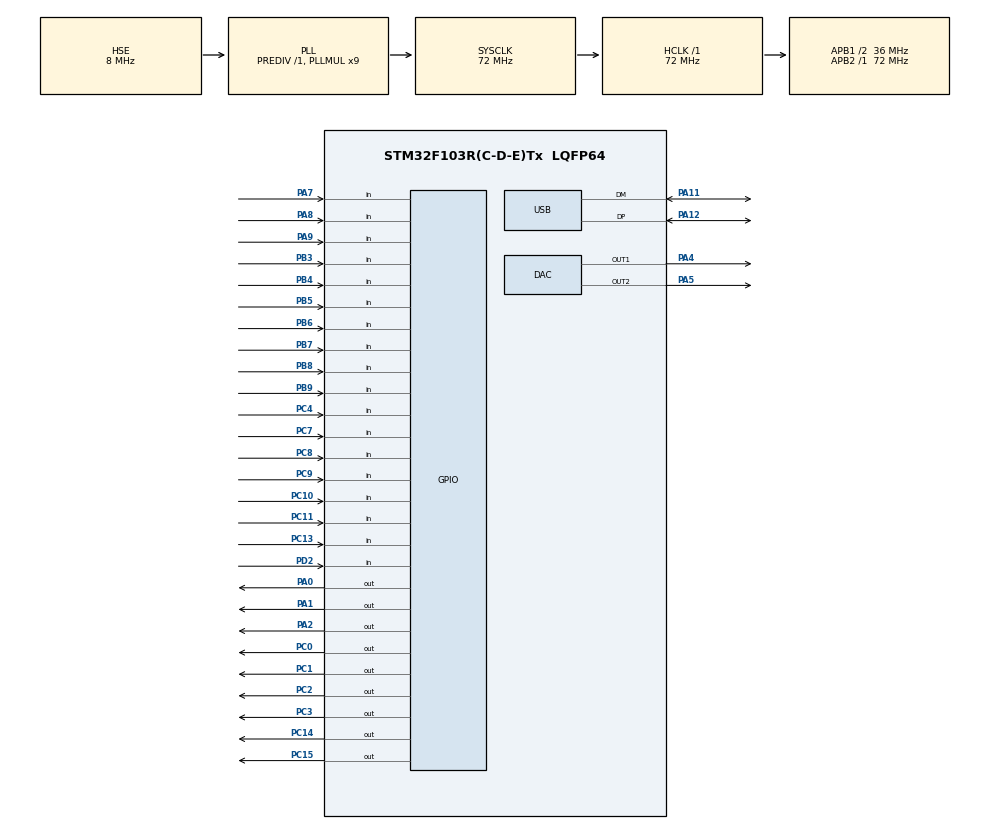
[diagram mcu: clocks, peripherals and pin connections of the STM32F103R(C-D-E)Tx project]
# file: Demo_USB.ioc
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Mcu.Family=STM32F1
Mcu.Name=STM32F103R(C-D-E)Tx
Mcu.Package=LQFP64
NVIC.PriorityGroup=NVIC_PRIORITYGROUP_4
NVIC.USB_LP_CAN1_RX0_IRQn=true\:0\:0\:false\:false\:true\:false\:true
PA0-WKUP.Signal=GPIO_Output
PA1.Signal=GPIO_Output
PA11.Mode=Device
PA11.Signal=USB_DM
PA12.Mode=Device
PA12.Signal=USB_DP
PA13.Mode=Serial_Wire
PA13.Signal=SYS_JTMS-SWDIO
PA14.Mode=Serial_Wire
PA14.Signal=SYS_JTCK-SWCLK
PA2.Signal=GPIO_Output
PA4.Signal=COMP_DAC1_group
PA5.Signal=COMP_DAC2_group
PA7.Signal=GPIO_Input
PA8.Signal=GPIO_Input
PA9.Signal=GPIO_Input
PB3.Signal=GPIO_Input
PB4.Signal=GPIO_Input
PB5.Signal=GPIO_Input
PB6.Signal=GPIO_Input
PB7.Signal=GPIO_Input
PB8.Signal=GPIO_Input
PB9.Signal=GPIO_Input
PC0.Signal=GPIO_Output
PC1.Signal=GPIO_Output
PC10.Signal=GPIO_Input
PC11.Signal=GPIO_Input
PC13-TAMPER-RTC.Signal=GPIO_Input
PC14-OSC32_IN.Signal=GPIO_Output
PC15-OSC32_OUT.Signal=GPIO_Output
PC2.Signal=GPIO_Output
PC3.Signal=GPIO_Output
PC4.Signal=GPIO_Input
PC7.Signal=GPIO_Input
PC8.Signal=GPIO_Input
PC9.Signal=GPIO_Input
PD0-OSC_IN.Mode=HSE-External-Oscillator
PD0-OSC_IN.Signal=RCC_OSC_IN
PD1-OSC_OUT.Mode=HSE-External-Oscillator
PD1-OSC_OUT.Signal=RCC_OSC_OUT
PD2.Signal=GPIO_Input
ProjectManager.HeapSize=0x200
ProjectManager.StackSize=0x400
ProjectManager.TargetToolchain=MDK-ARM V5
RCC.AHBFreq_Value=72000000
RCC.APB1CLKDivider=RCC_HCLK_DIV2
RCC.APB1Freq_Value=36000000
RCC.APB1TimFreq_Value=72000000
RCC.APB2Freq_Value=72000000
RCC.APB2TimFreq_Value=72000000
RCC.HCLKFreq_Value=72000000
RCC.PLLMUL=RCC_PLL_MUL9
RCC.SYSCLKFreq_VALUE=72000000
RCC.SYSCLKSource=RCC_SYSCLKSOURCE_PLLCLK
RCC.USBFreq_Value=48000000
RCC.USBPrescaler=RCC_USBCLKSOURCE_PLL_DIV1_5
SH.COMP_DAC1_group.0=DAC_OUT1,DAC_OUT1
SH.COMP_DAC2_group.0=DAC_OUT2,DAC_OUT2
USB_DEVICE.CLASS_NAME_FS=CDC
USB_DEVICE.VirtualMode=Cdc
USB_DEVICE.VirtualModeFS=Cdc_FS
VP_USB_DEVICE_VS_USB_DEVICE_CDC_FS.Mode=CDC_FS
board=custom

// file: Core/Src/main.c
/* USER CODE BEGIN Header */
/**
  ******************************************************************************
  * @file           : main.c
  * @brief          : Main program body
  ******************************************************************************
  * @attention
  *
  * <h2><center>&copy; Copyright (c) 2021 STMicroelectronics.
  * All rights reserved.</center></h2>
  *
  * This software component is licensed by ST under Ultimate Liberty license
  * SLA0044, the "License"; You may not use this file except in compliance with
  * the License. You may obtain a copy of the License at:
  *                             www.st.com/SLA0044
  *
  ******************************************************************************
  */
/* USER CODE END Header */
#include "main.h"
#include "usb_device.h"

/* USER CODE BEGIN Includes */
#include "usbd_cdc_if.h"
#include "AD7606.h"

//#include "dwt_stm32_delay.h"

/* USER CODE END Includes */

DAC_HandleTypeDef hdac;

/* USER CODE BEGIN PV */
uint8_t data[12000];char data1[1000];
uint16_t data_adc[6000];
uint16_t adc[10];
uint8_t  x, k;
uint16_t i=0;

uint32_t FRE=0, FRE1=0, FRE2=0;
uint8_t buffer[10];
uint8_t zero[10];
uint32_t len=0;

/* USER CODE END PV */

void SystemClock_Config(void);
static void MX_GPIO_Init(void);
static void MX_DAC_Init(void);

int main(void)
{

  /* MCU Configuration--------------------------------------------------------*/

  /* Reset of all peripherals, Initializes the Flash interface and the Systick. */
  HAL_Init();

  /* Configure the system clock */
  SystemClock_Config();

  /* Initialize all configured peripherals */
  MX_GPIO_Init();
  MX_USB_DEVICE_Init();
  MX_DAC_Init();
  /* USER CODE BEGIN 2 */
	DWT_Delay_Init();
	AD7606_config();
	HAL_DAC_Start(&hdac,DAC1_CHANNEL_1);

  /* USER CODE END 2 */

  /* Infinite loop */
  /* USER CODE BEGIN WHILE */
  while (1)
  {
		//sprintf(ReceivedData,"ADC\r\n");
		//CDC_Transmit_FS((uint8_t *)"adc", 3);
		//HAL_Delay(500);

		if (VCP_retrieveInputData(buffer,&len)==1)
		{
			float t =(buffer[0] - 48)*10 + (buffer[1]-48) + (buffer[2]-48)*0.1;
			//t = t/50*4095;
			FRE = (uint32_t)(t/50*4095);
			FRE1=buffer[1];
			FRE2=buffer[2];
			if (FRE<=4095)
			{
				HAL_DAC_Start(&hdac,DAC1_CHANNEL_1);
				HAL_DAC_SetValue(&hdac,DAC1_CHANNEL_1,DAC_ALIGN_12B_R,FRE);
			}
			else FRE = 0;
			//len=0;
			memset(buffer,0x00,sizeof(buffer));
		}
		//sprintf(data1,"adc, %d, %d, %d, %d, %d, %d, %d\r\n",adc[0],adc[1], adc[2], FRE, FRE1, FRE2, len);
		//CDC_Transmit_FS((uint8_t *)data1, strlen(data1));
		/*data[i]= (adc[0]/256);
				data[i+1] = adc[0]%256;
				data[i+2]= (adc[1]/256);
				data[i+3] = adc[1]%256;
				data[i+4]= (adc[2]/256);
				data[i+5] = adc[2]%256;
				i=i+6;
				if (i>=6000)
				{

						CDC_Transmit_FS((uint8_t *)data, sizeof(data));

					i=0;

				}
				DWT_Delay_us(1);
			  */
		if (FRE!=0)
		{
				k = AD7606_readConversionValue(adc);

				data_adc[i]=adc[0];
				data_adc[i+1]=adc[1];
				data_adc[i+2]=adc[3];

				i=i+3;
				if (i>=6000)
				{
					for(uint16_t m=0;m+2<6000;m=m+3)
					{
						uint16_t j = m*2;
						data[j]= (data_adc[m]/256);
						data[j+1] = data_adc[m]%256;
						data[j+2]= (data_adc[m+1]/256);
						data[j+3] = data_adc[m+1]%256;
						data[j+4]= (data_adc[m+2]/256);
						data[j+5] = data_adc[m+2]%256;
					}
					i=0;
					CDC_Transmit_FS((uint8_t *)data, sizeof(data));
					//memset(data,0x00,sizeof(data));
					//memset(data_adc,0x00,sizeof(data_adc));
				}
		}

		DWT_Delay_us(100);

    /* USER CODE END WHILE */

  }
}

void SystemClock_Config(void)
{
  RCC_OscInitTypeDef RCC_OscInitStruct = {0};
  RCC_ClkInitTypeDef RCC_ClkInitStruct = {0};
  RCC_PeriphCLKInitTypeDef PeriphClkInit = {0};

  /** Initializes the RCC Oscillators according to the specified parameters
  * in the RCC_OscInitTypeDef structure.
  */
  RCC_OscInitStruct.OscillatorType = RCC_OSCILLATORTYPE_HSE;
  RCC_OscInitStruct.HSEState = RCC_HSE_ON;
  RCC_OscInitStruct.HSEPredivValue = RCC_HSE_PREDIV_DIV1;
  RCC_OscInitStruct.HSIState = RCC_HSI_ON;
  RCC_OscInitStruct.PLL.PLLState = RCC_PLL_ON;
  RCC_OscInitStruct.PLL.PLLSource = RCC_PLLSOURCE_HSE;
  RCC_OscInitStruct.PLL.PLLMUL = RCC_PLL_MUL9;
  if (HAL_RCC_OscConfig(&RCC_OscInitStruct) != HAL_OK)
  {
    Error_Handler();
  }
  /** Initializes the CPU, AHB and APB buses clocks
  */
  RCC_ClkInitStruct.ClockType = RCC_CLOCKTYPE_HCLK|RCC_CLOCKTYPE_SYSCLK
                              |RCC_CLOCKTYPE_PCLK1|RCC_CLOCKTYPE_PCLK2;
  RCC_ClkInitStruct.SYSCLKSource = RCC_SYSCLKSOURCE_PLLCLK;
  RCC_ClkInitStruct.AHBCLKDivider = RCC_SYSCLK_DIV1;
  RCC_ClkInitStruct.APB1CLKDivider = RCC_HCLK_DIV2;
  RCC_ClkInitStruct.APB2CLKDivider = RCC_HCLK_DIV1;

  if (HAL_RCC_ClockConfig(&RCC_ClkInitStruct, FLASH_LATENCY_2) != HAL_OK)
  {
    Error_Handler();
  }
  PeriphClkInit.PeriphClockSelection = RCC_PERIPHCLK_USB;
  PeriphClkInit.UsbClockSelection = RCC_USBCLKSOURCE_PLL_DIV1_5;
  if (HAL_RCCEx_PeriphCLKConfig(&PeriphClkInit) != HAL_OK)
  {
    Error_Handler();
  }
}

static void MX_DAC_Init(void)
{

  DAC_ChannelConfTypeDef sConfig = {0};

  /** DAC Initialization
  */
  hdac.Instance = DAC;
  if (HAL_DAC_Init(&hdac) != HAL_OK)
  {
    Error_Handler();
  }
  /** DAC channel OUT1 config
  */
  sConfig.DAC_Trigger = DAC_TRIGGER_NONE;
  sConfig.DAC_OutputBuffer = DAC_OUTPUTBUFFER_ENABLE;
  if (HAL_DAC_ConfigChannel(&hdac, &sConfig, DAC_CHANNEL_1) != HAL_OK)
  {
    Error_Handler();
  }
  /** DAC channel OUT2 config
  */
  if (HAL_DAC_ConfigChannel(&hdac, &sConfig, DAC_CHANNEL_2) != HAL_OK)
  {
    Error_Handler();
  }

}

static void MX_GPIO_Init(void)
{
  GPIO_InitTypeDef GPIO_InitStruct = {0};

  /* GPIO Ports Clock Enable */
  __HAL_RCC_GPIOC_CLK_ENABLE();
  __HAL_RCC_GPIOD_CLK_ENABLE();
  __HAL_RCC_GPIOA_CLK_ENABLE();
  __HAL_RCC_GPIOB_CLK_ENABLE();

  /*Configure GPIO pin Output Level */
  HAL_GPIO_WritePin(GPIOC, GPIO_PIN_14|GPIO_PIN_15|GPIO_PIN_0|GPIO_PIN_1
                          |GPIO_PIN_2|GPIO_PIN_3, GPIO_PIN_RESET);

  /*Configure GPIO pin Output Level */
  HAL_GPIO_WritePin(GPIOA, GPIO_PIN_0|GPIO_PIN_1|GPIO_PIN_2, GPIO_PIN_RESET);

  /*Configure GPIO pins : PC13 PC4 PC7 PC8
                           PC9 PC10 PC11 */
  GPIO_InitStruct.Pin = GPIO_PIN_13|GPIO_PIN_4|GPIO_PIN_7|GPIO_PIN_8
                          |GPIO_PIN_9|GPIO_PIN_10|GPIO_PIN_11;
  GPIO_InitStruct.Mode = GPIO_MODE_INPUT;
  GPIO_InitStruct.Pull = GPIO_NOPULL;
  HAL_GPIO_Init(GPIOC, &GPIO_InitStruct);

  /*Configure GPIO pins : PC14 PC15 PC0 PC1
                           PC2 PC3 */
  GPIO_InitStruct.Pin = GPIO_PIN_14|GPIO_PIN_15|GPIO_PIN_0|GPIO_PIN_1
                          |GPIO_PIN_2|GPIO_PIN_3;
  GPIO_InitStruct.Mode = GPIO_MODE_OUTPUT_PP;
  GPIO_InitStruct.Pull = GPIO_NOPULL;
  GPIO_InitStruct.Speed = GPIO_SPEED_FREQ_LOW;
  HAL_GPIO_Init(GPIOC, &GPIO_InitStruct);

  /*Configure GPIO pins : PA0 PA1 PA2 */
  GPIO_InitStruct.Pin = GPIO_PIN_0|GPIO_PIN_1|GPIO_PIN_2;
  GPIO_InitStruct.Mode = GPIO_MODE_OUTPUT_PP;
  GPIO_InitStruct.Pull = GPIO_NOPULL;
  GPIO_InitStruct.Speed = GPIO_SPEED_FREQ_LOW;
  HAL_GPIO_Init(GPIOA, &GPIO_InitStruct);

  /*Configure GPIO pins : PA7 PA8 PA9 */
  GPIO_InitStruct.Pin = GPIO_PIN_7|GPIO_PIN_8|GPIO_PIN_9;
  GPIO_InitStruct.Mode = GPIO_MODE_INPUT;
  GPIO_InitStruct.Pull = GPIO_NOPULL;
  HAL_GPIO_Init(GPIOA, &GPIO_InitStruct);

  /*Configure GPIO pin : PD2 */
  GPIO_InitStruct.Pin = GPIO_PIN_2;
  GPIO_InitStruct.Mode = GPIO_MODE_INPUT;
  GPIO_InitStruct.Pull = GPIO_NOPULL;
  HAL_GPIO_Init(GPIOD, &GPIO_InitStruct);

  /*Configure GPIO pins : PB3 PB4 PB5 PB6
                           PB7 PB8 PB9 */
  GPIO_InitStruct.Pin = GPIO_PIN_3|GPIO_PIN_4|GPIO_PIN_5|GPIO_PIN_6
                          |GPIO_PIN_7|GPIO_PIN_8|GPIO_PIN_9;
  GPIO_InitStruct.Mode = GPIO_MODE_INPUT;
  GPIO_InitStruct.Pull = GPIO_NOPULL;
  HAL_GPIO_Init(GPIOB, &GPIO_InitStruct);

}

void Error_Handler(void)
{
  __disable_irq();
  while (1)
  {
  }
}

/************************ (C) COPYRIGHT STMicroelectronics *****END OF FILE****/
